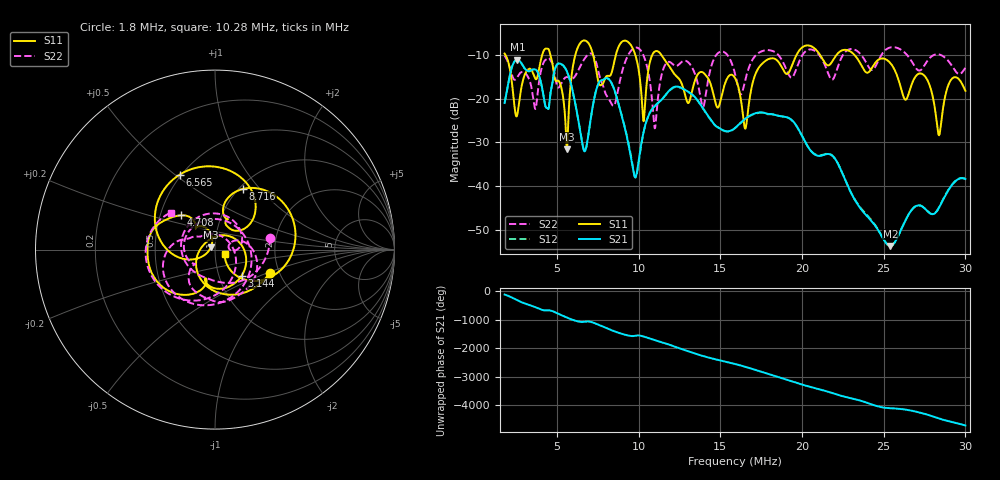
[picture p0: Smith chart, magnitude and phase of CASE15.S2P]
!Agilent Technologies,E5061B,MY49101568,A.02.00
!Date: Wed Mar 01 15:05:16 2023
!Data & Calibration Information:
!Freq	S11:SOLT2(OFF)	S21:SOLT2(OFF)	S12:SOLT2(OFF)	S22:SOLT2(OFF)
# Hz S dB R 50
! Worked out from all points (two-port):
!   1155 points, 1.8 MHz to 30 MHz, reference 50 ohm
!   highest |S21| = -10.99 dB at 2.582 MHz (marker M1); lowest = -53.8 dB at 25.41 MHz (marker M2)
!   |S21| within 3 dB of the highest: 2.155 MHz to 3.839 MHz (1.684 MHz wide, 56.2 % of centre); 4.825 MHz to 5.644 MHz (819.2 kHz wide, 15.6 % of centre)
!   lowest |S11| = -31.6 dB at 5.612 MHz (marker M3), VSWR 1.05, Z = 47.7 + j1.17 ohm
!   |S11| at or under -10 dB: 1.866 MHz to 4.093 MHz (2.227 MHz wide, 74.7 % of centre); 11.41 MHz to 19.66 MHz (8.247 MHz wide, 53.1 % of centre); 23.23 MHz to end of sweep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
!   |S22| runs from -26.8 to -8.1 dB; largest |S21 - S12| = 0.0054
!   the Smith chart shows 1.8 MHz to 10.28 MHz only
!   S11 on the Smith chart (normalised r, x): 1.8 MHz: 1.78, -0.52; 3.144 MHz: 1.28, -0.39; 4.708 MHz: 0.64, +0.26; 6.565 MHz: 0.49, +0.52; 8.716 MHz: 1.04, +0.82; 10.28 MHz: 1.11, -0.05
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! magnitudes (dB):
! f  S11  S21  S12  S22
! 1.8 MHz  -9.6  -20.9  -21.0  -10.0
! 2.582 MHz  -23.5  -11.0  -10.9  -15.0
! 3.144 MHz  -13.6  -13.4  -13.5  -14.4
! 4.708 MHz  -11.5  -16.7  -16.7  -11.7
! 5.612 MHz  -31.6  -13.7  -13.7  -15.0
! 6.516 MHz  -6.8  -29.5  -29.3  -11.9
! 6.565 MHz  -6.7  -30.6  -30.3  -11.6
! 7.64 MHz  -16.9  -15.9  -15.9  -15.2
! 8.716 MHz  -8.6  -20.4  -20.4  -18.5
! 9.766 MHz  -9.6  -37.9  -37.8  -8.3
! 10.28 MHz  -24.6  -28.1  -28.2  -9.9
! 11.21 MHz  -9.2  -20.9  -20.8  -19.0
! 13.02 MHz  -20.9  -18.3  -18.4  -11.5
! 13.95 MHz  -14.0  -22.2  -22.2  -21.9
! 15.9 MHz  -15.2  -26.7  -26.7  -14.2
! 16.54 MHz  -26.8  -24.5  -24.6  -15.6
! 17.46 MHz  -12.3  -23.1  -23.2  -9.2
! 20.62 MHz  -8.0  -32.3  -32.2  -8.7
! 25.31 MHz  -11.4  -53.6  -53.7  -8.3
! 25.41 MHz  -11.8  -53.8  -53.7  -8.2
! 28.39 MHz  -28.3  -45.0  -44.9  -9.8
! 30 MHz  -18.2  -38.4  -38.4  -12.8
